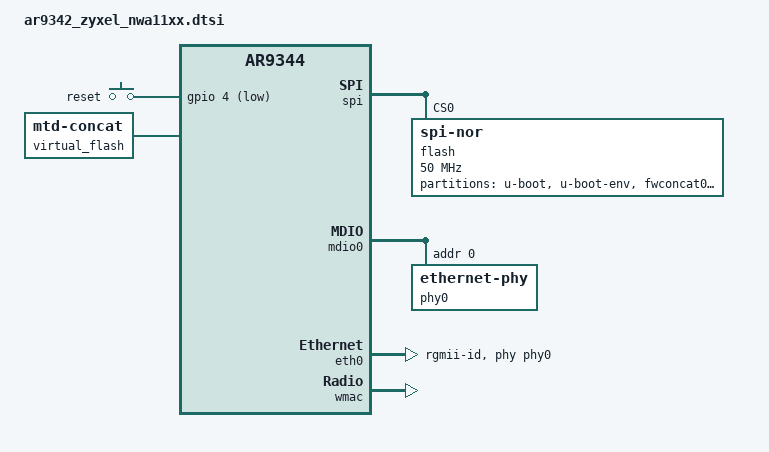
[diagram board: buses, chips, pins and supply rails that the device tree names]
// SPDX-License-Identifier: GPL-2.0-or-later OR MIT

#include "ar9344.dtsi"

#include <dt-bindings/gpio/gpio.h>
#include <dt-bindings/input/input.h>
#include <dt-bindings/mtd/partitions/uimage.h>

/ {
	keys {
		compatible = "gpio-keys";

		reset {
			label = "reset";
			linux,code = <KEY_RESTART>;
			gpios = <&gpio 4 GPIO_ACTIVE_LOW>;
		};
	};

	virtual_flash {
		compatible = "mtd-concat";

		devices = <&fwconcat0 &fwconcat1>;

		partitions {
			compatible = "fixed-partitions";
			#address-cells = <1>;
			#size-cells = <1>;

			partition@0 {
				compatible = "openwrt,uimage", "denx,uimage";
				openwrt,ih-magic = <IH_MAGIC_OKLI>;
				label = "firmware";
				reg = <0x0 0x0>;
			};
		};
	};
};

&ref {
	clock-frequency = <40000000>;
};

&spi {
	status = "okay";

	flash@0 {
		compatible = "jedec,spi-nor";
		reg = <0>;
		spi-max-frequency = <50000000>;

		partitions {
			compatible = "fixed-partitions";
			#address-cells = <1>;
			#size-cells = <1>;

			partition@0 {
				label = "u-boot";
				reg = <0x000000 0x040000>;
				read-only;
			};

			partition@40000 {
				label = "u-boot-env";
				reg = <0x040000 0x010000>;
			};

			fwconcat0: partition@50000 {
				label = "fwconcat0";
				reg = <0x050000 0x800000>;
			};

			partition@850000 {
				label = "loader";
				reg = <0x850000 0x010000>;
				read-only;
			};

			fwconcat1: partition@860000 {
				label = "fwconcat1";
				reg = <0x860000 0x740000>;
			};

			partition@fa0000 {
				label = "config";
				reg = <0xfa0000 0x040000>;
				read-only;
			};

			partition@fe0000 {
				label = "mib0";
				reg = <0xfe0000 0x010000>;
				read-only;

				nvmem-layout {
					compatible = "fixed-layout";
					#address-cells = <1>;
					#size-cells = <1>;

					macaddr_mib0_4b: macaddr@4b {
						compatible = "mac-base";
						reg = <0x4b 0x11>;
						#nvmem-cell-cells = <1>;
					};

					macaddr_mib0_66: macaddr@66 {
						compatible = "mac-base";
						reg = <0x66 0x11>;
						#nvmem-cell-cells = <1>;
					};
				};
			};

			partition@ff0000 {
				label = "art";
				reg = <0xff0000 0x010000>;
				read-only;

				nvmem-layout {
					compatible = "fixed-layout";
					#address-cells = <1>;
					#size-cells = <1>;

					calibration_ath9k: calibration@1000 {
						reg = <0x1000 0x440>;
					};

					macaddr_art_1002: macaddr@1002 {
						reg = <0x1002 0x6>;
					};
				};
			};
		};
	};
};

&mdio0 {
	status = "okay";

	phy0: ethernet-phy@0 {
		reg = <0>;
		phy-mode = "rgmii";
	};
};

&eth0 {
	status = "okay";

	pll-data = <0x06000000 0x00000101 0x00001313>;

	nvmem-cells = <&macaddr_art_1002>;
	nvmem-cell-names = "mac-address";

	phy-mode = "rgmii-id";
	phy-handle = <&phy0>;

	gmac-config {
		device = <&gmac>;
		rxdv-delay = <3>;
		rxd-delay = <3>;
		txen-delay = <3>;
		txd-delay = <3>;
		rgmii-gmac0 = <1>;
	};
};

&wmac {
	status = "okay";

	ieee80211-freq-limit = <2402000 2482000>;

	nvmem-cells = <&macaddr_mib0_4b 0>, <&calibration_ath9k>;
	nvmem-cell-names = "mac-address", "calibration";
};
